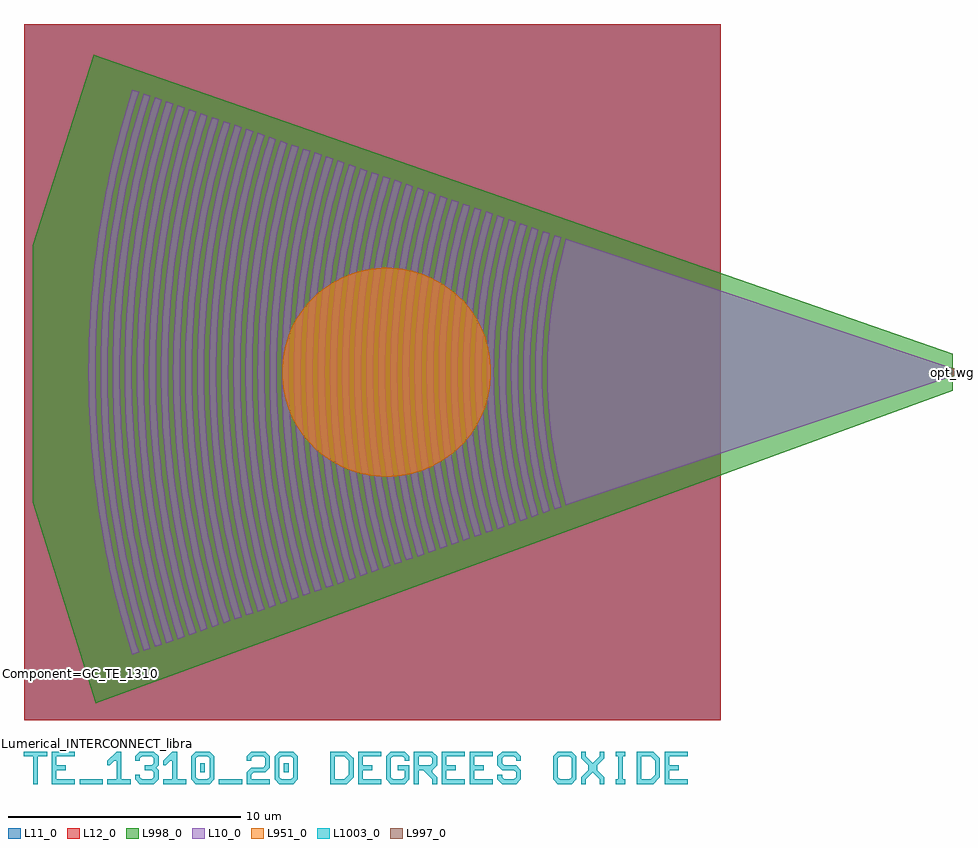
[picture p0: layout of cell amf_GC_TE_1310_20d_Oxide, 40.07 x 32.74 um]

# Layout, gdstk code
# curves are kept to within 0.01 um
import gdstk
lib = gdstk.Library(unit=1e-6, precision=1e-09)
def R(c, l, rs):  # rectangles x0, y0, x1, y1
    for r in rs: c.add(gdstk.rectangle(r[:2], r[2:], *l))
def P(c, l, *ps):  # polygons
    for p in ps: c.add(gdstk.Polygon(p, *l))
L10_0 = (10, 0)
L11_0 = (11, 0)
L12_0 = (12, 0)
L951_0 = (951, 0)
L997_0 = (997, 0)
L998_0 = (998, 0)
L1003_0 = (1003, 0)

amf_gc_te_1310_20d_oxide = lib.new_cell('amf_GC_TE_1310_20d_Oxide')
R(amf_gc_te_1310_20d_oxide, L10_0, [(-1,-0.175,0,0.175)])
P(amf_gc_te_1310_20d_oxide, L10_0, [(-16.672,-5.741),(-16.858,-5.045),(-17.021,-4.346),(-17.159,-3.642),(-17.272,-2.936),(-17.361,-2.226),(-17.425,-1.515),(-17.465,-0.802),(-17.48,-0.089),(-17.471,0.624),(-17.438,1.337),(-17.379,2.049),(-17.297,2.759),(-17.189,3.466),(-17.058,4.17),(-16.901,4.871),(-16.672,5.741),(0,0.175),(0,-0.175)],
  [(-23.063,-7.941),(-23.335,-6.984),(-23.571,-6.018),(-23.771,-5.046),(-23.936,-4.068),(-24.066,-3.086),(-24.16,-2.101),(-24.218,-1.113),(-24.24,-0.124),(-24.227,0.866),(-24.178,1.854),(-24.093,2.84),(-23.972,3.823),(-23.816,4.802),(-23.571,6.018),(-23.335,6.984),(-23.063,7.941),(-22.77,7.84),(-23.038,6.895),(-23.27,5.942),(-23.468,4.982),(-23.631,4.016),(-23.759,3.047),(-23.851,2.074),(-23.908,1.099),(-23.93,0.122),(-23.917,-0.854),(-23.869,-1.83),(-23.759,-3.047),(-23.631,-4.016),(-23.468,-4.982),(-23.27,-5.942),(-23.038,-6.895),(-22.77,-7.84)],
  [(-23.555,-8.111),(-23.833,-7.133),(-24.075,-6.147),(-24.28,-5.154),(-24.449,-4.156),(-24.582,-3.152),(-24.678,-2.146),(-24.737,-1.137),(-24.76,-0.126),(-24.747,0.884),(-24.696,1.894),(-24.609,2.901),(-24.486,3.905),(-24.326,4.905),(-24.075,6.147),(-23.833,7.133),(-23.555,8.111),(-23.262,8.01),(-23.536,7.044),(-23.774,6.07),(-23.977,5.09),(-24.144,4.104),(-24.274,3.113),(-24.369,2.119),(-24.428,1.122),(-24.45,0.125),(-24.437,-0.873),(-24.369,-2.119),(-24.274,-3.113),(-24.144,-4.104),(-23.977,-5.09),(-23.774,-6.07),(-23.536,-7.044),(-23.262,-8.01)],
  [(-24.047,-8.28),(-24.331,-7.282),(-24.578,-6.275),(-24.789,-5.262),(-24.962,-4.243),(-25.098,-3.218),(-25.196,-2.191),(-25.257,-1.161),(-25.28,-0.129),(-25.266,0.903),(-25.215,1.933),(-25.098,3.218),(-24.962,4.243),(-24.789,5.262),(-24.578,6.275),(-24.331,7.282),(-24.047,8.28),(-23.754,8.179),(-24.034,7.193),(-24.278,6.199),(-24.485,5.198),(-24.656,4.191),(-24.79,3.179),(-24.887,2.164),(-24.947,1.146),(-24.97,0.127),(-24.956,-0.892),(-24.906,-1.91),(-24.818,-2.926),(-24.656,-4.191),(-24.485,-5.198),(-24.278,-6.199),(-24.034,-7.193),(-23.754,-8.179)],
  [(-24.538,-8.449),(-24.829,-7.431),(-25.082,-6.404),(-25.297,-5.37),(-25.474,-4.33),(-25.613,-3.285),(-25.714,-2.236),(-25.776,-1.184),(-25.8,-0.132),(-25.786,0.921),(-25.733,1.973),(-25.642,3.023),(-25.513,4.069),(-25.345,5.11),(-25.14,6.146),(-24.896,7.175),(-24.538,8.449),(-24.245,8.348),(-24.532,7.342),(-24.782,6.327),(-24.994,5.306),(-25.169,4.278),(-25.306,3.245),(-25.405,2.209),(-25.467,1.17),(-25.49,0.13),(-25.476,-0.91),(-25.424,-1.949),(-25.334,-2.986),(-25.207,-4.02),(-24.994,-5.306),(-24.782,-6.327),(-24.532,-7.342),(-24.245,-8.348)],
  [(-25.03,-8.619),(-25.327,-7.58),(-25.586,-6.533),(-25.806,-5.478),(-25.987,-4.417),(-26.129,-3.351),(-26.232,-2.281),(-26.296,-1.208),(-26.32,-0.134),(-26.306,0.94),(-26.252,2.013),(-26.159,3.084),(-25.987,4.417),(-25.806,5.478),(-25.586,6.533),(-25.327,7.58),(-25.03,8.619),(-24.737,8.518),(-25.03,7.491),(-25.286,6.456),(-25.503,5.414),(-25.681,4.365),(-25.822,3.311),(-25.923,2.254),(-25.986,1.194),(-26.01,0.133),(-25.996,-0.929),(-25.943,-1.989),(-25.851,-3.047),(-25.72,-4.102),(-25.551,-5.152),(-25.344,-6.196),(-25.098,-7.233),(-24.737,-8.518)],
  [(-25.522,-8.788),(-25.825,-7.729),(-26.09,-6.661),(-26.315,-5.586),(-26.5,-4.504),(-26.645,-3.417),(-26.75,-2.326),(-26.815,-1.232),(-26.84,-0.137),(-26.825,0.958),(-26.77,2.053),(-26.645,3.417),(-26.5,4.504),(-26.315,5.586),(-26.09,6.661),(-25.825,7.729),(-25.522,8.788),(-25.229,8.687),(-25.528,7.64),(-25.789,6.585),(-26.011,5.522),(-26.194,4.452),(-26.337,3.377),(-26.441,2.299),(-26.506,1.218),(-26.53,0.135),(-26.515,-0.947),(-26.461,-2.029),(-26.367,-3.108),(-26.234,-4.184),(-26.061,-5.255),(-25.849,-6.32),(-25.597,-7.377),(-25.229,-8.687)],
  [(-28.963,-9.973),(-29.313,-8.773),(-29.617,-7.562),(-29.875,-6.342),(-30.088,-5.114),(-30.255,-3.88),(-30.376,-2.641),(-30.451,-1.399),(-30.48,-0.156),(-30.463,1.088),(-30.4,2.331),(-30.29,3.571),(-30.088,5.114),(-29.875,6.342),(-29.617,7.562),(-29.313,8.773),(-28.963,9.973),(-28.67,9.872),(-29.016,8.684),(-29.316,7.485),(-29.572,6.277),(-29.783,5.062),(-29.948,3.84),(-30.068,2.614),(-30.142,1.385),(-30.17,0.154),(-30.142,-1.385),(-30.068,-2.614),(-29.948,-3.84),(-29.783,-5.062),(-29.572,-6.277),(-29.316,-7.485),(-29.016,-8.684),(-28.67,-9.872)],
  [(-29.455,-10.142),(-29.811,-8.922),(-30.121,-7.691),(-30.384,-6.45),(-30.601,-5.201),(-30.771,-3.946),(-30.894,-2.686),(-30.971,-1.423),(-31,-0.158),(-30.983,1.107),(-30.918,2.371),(-30.806,3.631),(-30.648,4.888),(-30.443,6.138),(-30.121,7.691),(-29.811,8.922),(-29.455,10.142),(-29.162,10.041),(-29.514,8.833),(-29.82,7.614),(-30.081,6.385),(-30.295,5.149),(-30.464,3.907),(-30.586,2.659),(-30.661,1.409),(-30.69,0.157),(-30.673,-1.096),(-30.609,-2.347),(-30.498,-3.595),(-30.342,-4.839),(-30.139,-6.077),(-29.89,-7.308),(-29.595,-8.529),(-29.162,-10.041)],
  [(-29.947,-10.311),(-30.309,-9.071),(-30.624,-7.819),(-30.893,-6.558),(-31.114,-5.288),(-31.287,-4.012),(-31.413,-2.731),(-31.49,-1.447),(-31.52,-0.161),(-31.502,1.125),(-31.413,2.731),(-31.287,4.012),(-31.114,5.288),(-30.893,6.558),(-30.624,7.819),(-30.309,9.071),(-29.947,10.311),(-29.654,10.211),(-30.012,8.982),(-30.324,7.743),(-30.589,6.493),(-30.808,5.236),(-30.979,3.973),(-31.104,2.704),(-31.181,1.433),(-31.21,0.159),(-31.193,-1.114),(-31.104,-2.704),(-30.979,-3.973),(-30.808,-5.236),(-30.589,-6.493),(-30.324,-7.743),(-30.012,-8.982),(-29.654,-10.211)],
  [(-30.438,-10.481),(-30.807,-9.22),(-31.128,-7.948),(-31.401,-6.666),(-31.626,-5.375),(-31.803,-4.078),(-31.931,-2.776),(-32.01,-1.471),(-32.04,-0.163),(-32.022,1.144),(-31.955,2.45),(-31.839,3.753),(-31.675,5.052),(-31.462,6.344),(-31.201,7.628),(-30.892,8.903),(-30.438,10.481),(-30.145,10.38),(-30.51,9.131),(-30.828,7.871),(-31.098,6.601),(-31.321,5.323),(-31.495,4.039),(-31.622,2.749),(-31.7,1.457),(-31.73,0.162),(-31.7,-1.457),(-31.622,-2.749),(-31.495,-4.039),(-31.321,-5.323),(-31.098,-6.601),(-30.828,-7.871),(-30.51,-9.131),(-30.145,-10.38)],
  [(-30.93,-10.65),(-31.305,-9.369),(-31.632,-8.076),(-31.91,-6.774),(-32.139,-5.463),(-32.318,-4.144),(-32.449,-2.821),(-32.529,-1.495),(-32.56,-0.166),(-32.542,1.163),(-32.449,2.821),(-32.318,4.144),(-32.139,5.463),(-31.91,6.774),(-31.632,8.076),(-31.305,9.369),(-30.93,10.65),(-30.637,10.549),(-31.008,9.28),(-31.332,8),(-31.607,6.709),(-31.833,5.411),(-32.011,4.105),(-32.14,2.794),(-32.22,1.48),(-32.25,0.165),(-32.22,-1.48),(-32.14,-2.794),(-32.011,-4.105),(-31.833,-5.411),(-31.607,-6.709),(-31.332,-8),(-31.008,-9.28),(-30.637,-10.549)],
  [(-31.422,-10.819),(-31.803,-9.518),(-32.136,-8.205),(-32.419,-6.882),(-32.651,-5.55),(-32.834,-4.211),(-32.967,-2.866),(-33.049,-1.519),(-33.08,-0.169),(-33.061,1.181),(-32.992,2.53),(-32.872,3.875),(-32.702,5.215),(-32.419,6.882),(-32.136,8.205),(-31.803,9.518),(-31.422,10.819),(-31.129,10.718),(-31.507,9.429),(-31.836,8.128),(-32.115,6.817),(-32.346,5.498),(-32.527,4.171),(-32.658,2.84),(-32.739,1.504),(-32.77,0.167),(-32.752,-1.17),(-32.683,-2.506),(-32.564,-3.839),(-32.396,-5.167),(-32.178,-6.488),(-31.836,-8.128),(-31.507,-9.429),(-31.129,-10.718)],
  [(-31.913,-10.989),(-32.302,-9.667),(-32.64,-8.334),(-32.927,-6.99),(-33.164,-5.637),(-33.35,-4.277),(-33.485,-2.911),(-33.568,-1.542),(-33.6,-0.171),(-33.581,1.2),(-33.485,2.911),(-33.35,4.277),(-33.164,5.637),(-32.927,6.99),(-32.64,8.334),(-32.302,9.667),(-31.913,10.989),(-31.62,10.888),(-32.005,9.578),(-32.339,8.257),(-32.624,6.925),(-32.859,5.585),(-33.043,4.237),(-33.176,2.885),(-33.258,1.528),(-33.29,0.17),(-33.271,-1.189),(-33.243,-1.868),(-33.176,-2.885),(-33.043,-4.237),(-32.859,-5.585),(-32.624,-6.925),(-32.339,-8.257),(-32.005,-9.578),(-31.62,-10.888)],
  [(-32.405,-11.158),(-32.8,-9.816),(-33.144,-8.462),(-33.436,-7.098),(-33.677,-5.724),(-33.866,-4.343),(-34.003,-2.956),(-34.088,-1.566),(-34.12,-0.174),(-34.088,1.566),(-34.003,2.956),(-33.866,4.343),(-33.677,5.724),(-33.436,7.098),(-33.144,8.462),(-32.8,9.816),(-32.405,11.158),(-32.112,11.057),(-32.503,9.728),(-32.843,8.386),(-33.133,7.033),(-33.371,5.672),(-33.558,4.303),(-33.694,2.93),(-33.778,1.552),(-33.81,0.172),(-33.791,-1.207),(-33.72,-2.585),(-33.597,-3.96),(-33.423,-5.33),(-33.133,-7.033),(-32.843,-8.386),(-32.503,-9.728),(-32.112,-11.057)],
  [(-32.897,-11.327),(-33.298,-9.966),(-33.647,-8.591),(-33.945,-7.206),(-34.189,-5.811),(-34.382,-4.409),(-34.521,-3.001),(-34.607,-1.59),(-34.64,-0.177),(-34.637,0.53),(-34.607,1.59),(-34.521,3.001),(-34.382,4.409),(-34.189,5.811),(-33.945,7.206),(-33.647,8.591),(-33.298,9.966),(-32.897,11.327),(-32.604,11.226),(-33.001,9.877),(-33.347,8.514),(-33.641,7.141),(-33.884,5.759),(-34.074,4.37),(-34.212,2.975),(-34.297,1.576),(-34.33,0.175),(-34.311,-1.226),(-34.261,-2.276),(-34.15,-3.673),(-34.031,-4.718),(-33.828,-6.105),(-33.501,-7.829),(-33.092,-9.537),(-32.809,-10.553),(-32.604,-11.226)],
  [(-18.638,-6.418),(-18.851,-5.642),(-19.036,-4.86),(-19.193,-4.074),(-19.323,-3.284),(-19.424,-2.491),(-19.497,-1.695),(-19.543,-0.898),(-19.56,-0.1),(-19.55,0.698),(-19.511,1.496),(-19.445,2.292),(-19.323,3.284),(-19.193,4.074),(-19.036,4.86),(-18.851,5.642),(-18.638,6.418),(-18.345,6.317),(-18.554,5.553),(-18.736,4.784),(-18.89,4.01),(-19.017,3.232),(-19.117,2.451),(-19.189,1.668),(-19.233,0.884),(-19.25,0.098),(-19.24,-0.687),(-19.189,-1.668),(-19.117,-2.451),(-19.017,-3.232),(-18.89,-4.01),(-18.736,-4.784),(-18.554,-5.553),(-18.345,-6.317)],
  [(-19.13,-6.587),(-19.349,-5.791),(-19.54,-4.989),(-19.702,-4.182),(-19.835,-3.371),(-19.94,-2.557),(-20.016,-1.74),(-20.062,-0.922),(-20.08,-0.102),(-20.07,0.717),(-20.03,1.536),(-19.961,2.353),(-19.864,3.168),(-19.738,3.98),(-19.54,4.989),(-19.349,5.791),(-19.13,6.587),(-18.837,6.486),(-19.052,5.702),(-19.24,4.912),(-19.399,4.118),(-19.53,3.319),(-19.632,2.518),(-19.707,1.713),(-19.753,0.908),(-19.77,0.101),(-19.753,-0.908),(-19.707,-1.713),(-19.632,-2.518),(-19.53,-3.319),(-19.399,-4.118),(-19.24,-4.912),(-19.052,-5.702),(-18.837,-6.486)],
  [(-19.622,-6.756),(-19.847,-5.94),(-20.044,-5.118),(-20.211,-4.29),(-20.348,-3.458),(-20.456,-2.623),(-20.534,-1.785),(-20.582,-0.946),(-20.6,-0.105),(-20.589,0.736),(-20.548,1.576),(-20.478,2.414),(-20.378,3.25),(-20.211,4.29),(-20.044,5.118),(-19.847,5.94),(-19.622,6.756),(-19.329,6.655),(-19.55,5.851),(-19.743,5.041),(-19.907,4.226),(-20.042,3.407),(-20.148,2.584),(-20.225,1.758),(-20.272,0.931),(-20.29,0.104),(-20.272,-0.931),(-20.225,-1.758),(-20.148,-2.584),(-20.042,-3.407),(-19.907,-4.226),(-19.743,-5.041),(-19.55,-5.851),(-19.329,-6.655)],
  [(-20.113,-6.926),(-20.346,-6.089),(-20.548,-5.246),(-20.719,-4.398),(-20.861,-3.546),(-20.971,-2.689),(-21.052,-1.83),(-21.101,-0.97),(-21.12,-0.108),(-21.109,0.754),(-21.052,1.83),(-20.971,2.689),(-20.861,3.546),(-20.719,4.398),(-20.548,5.246),(-20.346,6.089),(-20.113,6.926),(-19.82,6.825),(-20.049,6),(-20.247,5.17),(-20.416,4.334),(-20.555,3.494),(-20.664,2.65),(-20.743,1.804),(-20.792,0.955),(-20.81,0.106),(-20.792,-0.955),(-20.743,-1.804),(-20.664,-2.65),(-20.555,-3.494),(-20.416,-4.334),(-20.247,-5.17),(-20.049,-6),(-19.82,-6.825)],
  [(-20.605,-7.095),(-20.844,-6.238),(-21.051,-5.375),(-21.228,-4.506),(-21.373,-3.633),(-21.487,-2.755),(-21.57,-1.875),(-21.621,-0.993),(-21.64,-0.11),(-21.629,0.773),(-21.585,1.655),(-21.511,2.536),(-21.405,3.414),(-21.267,4.288),(-21.099,5.158),(-20.899,6.023),(-20.605,7.095),(-20.312,6.994),(-20.547,6.149),(-20.751,5.298),(-20.925,4.442),(-21.068,3.581),(-21.18,2.716),(-21.261,1.849),(-21.311,0.979),(-21.33,0.109),(-21.319,-0.762),(-21.276,-1.631),(-21.203,-2.499),(-21.099,-3.365),(-20.925,-4.442),(-20.751,-5.298),(-20.547,-6.149),(-20.312,-6.994)],
  [(-21.097,-7.264),(-21.342,-6.387),(-21.555,-5.504),(-21.737,-4.614),(-21.886,-3.72),(-22.003,-2.822),(-22.088,-1.92),(-22.14,-1.017),(-22.16,-0.113),(-22.14,1.017),(-22.088,1.92),(-22.003,2.822),(-21.886,3.72),(-21.737,4.614),(-21.555,5.504),(-21.342,6.387),(-21.097,7.264),(-20.804,7.163),(-21.045,6.298),(-21.255,5.427),(-21.433,4.55),(-21.58,3.668),(-21.695,2.782),(-21.779,1.894),(-21.831,1.003),(-21.85,0.111),(-21.838,-0.78),(-21.795,-1.671),(-21.719,-2.56),(-21.612,-3.447),(-21.473,-4.33),(-21.303,-5.208),(-21.045,-6.298),(-20.804,-7.163)],
  [(-33.388,-11.497),(-33.796,-10.115),(-34.151,-8.72),(-34.453,-7.314),(-34.702,-5.898),(-34.897,-4.475),(-35.039,-3.047),(-35.127,-1.614),(-35.16,-0.179),(-35.14,1.255),(-35.066,2.689),(-34.938,4.119),(-34.756,5.543),(-34.521,6.961),(-34.232,8.369),(-33.89,9.767),(-33.599,10.807),(-33.388,11.497),(-33.095,11.396),(-33.499,10.026),(-33.851,8.643),(-34.15,7.249),(-34.396,5.846),(-34.59,4.436),(-34.73,3.02),(-34.817,1.6),(-34.85,0.178),(-34.84,-0.889),(-34.78,-2.31),(-34.667,-3.728),(-34.546,-4.789),(-34.45,-5.494),(-34.28,-6.549),(-33.931,-8.296),(-33.682,-9.336),(-33.499,-10.026),(-33.095,-11.396)],
  [(-33.88,-11.666),(-34.294,-10.264),(-34.655,-8.848),(-34.962,-7.422),(-35.215,-5.985),(-35.413,-4.541),(-35.557,-3.092),(-35.646,-1.638),(-35.68,-0.182),(-35.66,1.274),(-35.629,2.002),(-35.557,3.092),(-35.413,4.541),(-35.215,5.985),(-34.962,7.422),(-34.655,8.848),(-34.294,10.264),(-33.88,11.666),(-33.587,11.565),(-33.997,10.175),(-34.355,8.772),(-34.659,7.357),(-34.909,5.933),(-35.106,4.502),(-35.248,3.065),(-35.336,1.624),(-35.37,0.18),(-35.35,-1.263),(-35.299,-2.345),(-35.218,-3.424),(-35.062,-4.86),(-34.791,-6.646),(-34.588,-7.712),(-34.436,-8.419),(-34.092,-9.825),(-33.9,-10.524),(-33.587,-11.565)],
  [(-34.372,-11.835),(-34.792,-10.413),(-35.159,-8.977),(-35.471,-7.53),(-35.727,-6.072),(-35.929,-4.607),(-36.075,-3.137),(-36.165,-1.662),(-36.2,-0.185),(-36.179,1.293),(-36.103,2.768),(-35.971,4.24),(-35.783,5.707),(-35.606,6.802),(-35.471,7.53),(-35.159,8.977),(-34.792,10.413),(-34.372,11.835),(-34.079,11.734),(-34.496,10.324),(-34.859,8.9),(-35.167,7.465),(-35.422,6.02),(-35.621,4.568),(-35.766,3.11),(-35.856,1.647),(-35.89,0.183),(-35.87,-1.282),(-35.818,-2.379),(-35.701,-3.84),(-35.577,-4.932),(-35.422,-6.02),(-35.301,-6.744),(-35.095,-7.825),(-34.941,-8.543),(-34.684,-9.614),(-34.496,-10.324),(-34.079,-11.734)],
  [(-34.863,-12.004),(-35.291,-10.562),(-35.663,-9.106),(-35.979,-7.638),(-36.24,-6.16),(-36.445,-4.674),(-36.593,-3.182),(-36.685,-1.686),(-36.72,-0.187),(-36.71,0.937),(-36.685,1.686),(-36.593,3.182),(-36.445,4.674),(-36.24,6.16),(-35.979,7.638),(-35.663,9.106),(-35.291,10.562),(-34.863,12.004),(-34.57,11.904),(-34.994,10.473),(-35.185,9.753),(-35.446,8.666),(-35.603,7.938),(-35.812,6.842),(-35.934,6.108),(-36.092,5.003),(-36.218,3.895),(-36.337,2.413),(-36.389,1.3),(-36.41,0.186),(-36.4,-0.929),(-36.337,-2.413),(-36.253,-3.525),(-36.092,-5.003),(-35.934,-6.108),(-35.812,-6.842),(-35.603,-7.938),(-35.446,-8.666),(-35.185,-9.753),(-34.994,-10.473),(-34.57,-11.904)],
  [(-35.355,-12.174),(-35.789,-10.711),(-36.167,-9.234),(-36.488,-7.746),(-36.753,-6.247),(-36.96,-4.74),(-37.111,-3.227),(-37.204,-1.709),(-37.24,-0.19),(-37.219,1.33),(-37.14,2.848),(-37.043,3.984),(-36.96,4.74),(-36.753,6.247),(-36.488,7.746),(-36.167,9.234),(-35.789,10.711),(-35.355,12.174),(-35.062,12.073),(-35.39,10.986),(-35.591,10.257),(-35.951,8.79),(-36.185,7.681),(-36.323,6.939),(-36.504,5.822),(-36.607,5.075),(-36.735,3.951),(-36.856,2.448),(-36.909,1.319),(-36.93,0.188),(-36.92,-0.942),(-36.856,-2.448),(-36.735,-3.951),(-36.607,-5.075),(-36.504,-5.822),(-36.323,-6.939),(-36.185,-7.681),(-35.951,-8.79),(-35.591,-10.257),(-35.39,-10.986),(-35.062,-12.073)],
  [(-21.588,-7.433),(-21.84,-6.536),(-22.059,-5.632),(-22.245,-4.722),(-22.399,-3.807),(-22.519,-2.888),(-22.606,-1.966),(-22.66,-1.041),(-22.68,-0.116),(-22.66,1.041),(-22.606,1.966),(-22.519,2.888),(-22.399,3.807),(-22.245,4.722),(-22.059,5.632),(-21.84,6.536),(-21.588,7.433),(-21.295,7.333),(-21.543,6.447),(-21.759,5.556),(-21.942,4.658),(-22.093,3.755),(-22.211,2.848),(-22.297,1.939),(-22.35,1.027),(-22.37,0.114),(-22.358,-0.799),(-22.313,-1.711),(-22.236,-2.621),(-22.126,-3.529),(-21.983,-4.433),(-21.808,-5.332),(-21.6,-6.225),(-21.295,-7.333)],
  [(-22.08,-7.603),(-22.338,-6.685),(-22.563,-5.761),(-22.754,-4.83),(-22.911,-3.894),(-23.034,-2.954),(-23.124,-2.011),(-23.179,-1.065),(-23.2,-0.118),(-23.188,0.828),(-23.124,2.011),(-23.034,2.954),(-22.911,3.894),(-22.754,4.83),(-22.563,5.761),(-22.338,6.685),(-22.08,7.603),(-21.787,7.502),(-22.041,6.597),(-22.263,5.684),(-22.451,4.766),(-22.606,3.842),(-22.727,2.914),(-22.815,1.984),(-22.869,1.051),(-22.89,0.117),(-22.878,-0.817),(-22.832,-1.751),(-22.727,-2.914),(-22.606,-3.842),(-22.451,-4.766),(-22.263,-5.684),(-22.041,-6.597),(-21.787,-7.502)],
  [(-22.572,-7.772),(-22.836,-6.835),(-23.067,-5.89),(-23.263,-4.938),(-23.424,-3.981),(-23.55,-3.02),(-23.642,-2.056),(-23.699,-1.089),(-23.72,-0.121),(-23.707,0.847),(-23.659,1.814),(-23.576,2.779),(-23.459,3.741),(-23.263,4.938),(-23.067,5.89),(-22.836,6.835),(-22.572,7.772),(-22.279,7.671),(-22.539,6.746),(-22.766,5.813),(-22.959,4.874),(-23.118,3.929),(-23.243,2.981),(-23.333,2.029),(-23.389,1.075),(-23.41,0.119),(-23.397,-0.836),(-23.35,-1.79),(-23.269,-2.743),(-23.153,-3.693),(-23.002,-4.638),(-22.818,-5.579),(-22.539,-6.746),(-22.279,-7.671)],
  [(-26.013,-8.957),(-26.324,-7.878),(-26.594,-6.79),(-26.823,-5.694),(-27.012,-4.591),(-27.161,-3.483),(-27.268,-2.371),(-27.335,-1.256),(-27.36,-0.14),(-27.345,0.977),(-27.289,2.092),(-27.191,3.205),(-27.053,4.315),(-26.874,5.419),(-26.594,6.79),(-26.324,7.878),(-26.013,8.957),(-25.72,8.856),(-26.027,7.789),(-26.293,6.713),(-26.52,5.63),(-26.707,4.539),(-26.853,3.444),(-26.959,2.344),(-27.025,1.242),(-27.05,0.138),(-27.035,-0.966),(-26.98,-2.069),(-26.884,-3.169),(-26.707,-4.539),(-26.52,-5.63),(-26.293,-6.713),(-26.027,-7.789),(-25.72,-8.856)],
  [(-26.505,-9.126),(-26.822,-8.027),(-27.098,-6.919),(-27.332,-5.802),(-27.525,-4.678),(-27.676,-3.549),(-27.786,-2.416),(-27.854,-1.28),(-27.88,-0.142),(-27.865,0.996),(-27.807,2.132),(-27.708,3.266),(-27.567,4.397),(-27.332,5.802),(-27.098,6.919),(-26.822,8.027),(-26.505,9.126),(-26.212,9.025),(-26.525,7.938),(-26.797,6.842),(-27.029,5.738),(-27.219,4.626),(-27.369,3.51),(-27.477,2.389),(-27.545,1.266),(-27.57,0.141),(-27.555,-0.984),(-27.498,-2.108),(-27.4,-3.23),(-27.261,-4.348),(-27.08,-5.46),(-26.859,-6.567),(-26.597,-7.665),(-26.212,-9.025)],
  [(-26.997,-9.296),(-27.32,-8.176),(-27.601,-7.047),(-27.841,-5.91),(-28.038,-4.765),(-28.192,-3.615),(-28.304,-2.461),(-28.374,-1.304),(-28.4,-0.145),(-28.384,1.014),(-28.326,2.172),(-28.224,3.327),(-28.038,4.765),(-27.841,5.91),(-27.601,7.047),(-27.32,8.176),(-26.997,9.296),(-26.704,9.195),(-27.023,8.088),(-27.301,6.971),(-27.537,5.846),(-27.732,4.714),(-27.885,3.576),(-27.995,2.434),(-28.064,1.289),(-28.09,0.143),(-28.075,-1.003),(-27.995,-2.434),(-27.885,-3.576),(-27.732,-4.714),(-27.537,-5.846),(-27.301,-6.971),(-27.023,-8.088),(-26.704,-9.195)],
  [(-27.488,-9.465),(-27.818,-8.325),(-28.105,-7.176),(-28.349,-6.018),(-28.55,-4.853),(-28.708,-3.681),(-28.822,-2.506),(-28.893,-1.328),(-28.92,-0.148),(-28.904,1.033),(-28.844,2.212),(-28.741,3.388),(-28.594,4.56),(-28.404,5.727),(-28.105,7.176),(-27.818,8.325),(-27.488,9.465),(-27.195,9.364),(-27.521,8.237),(-27.805,7.099),(-28.046,5.954),(-28.245,4.801),(-28.401,3.642),(-28.513,2.479),(-28.583,1.313),(-28.61,0.146),(-28.594,-1.022),(-28.535,-2.188),(-28.401,-3.642),(-28.245,-4.801),(-28.046,-5.954),(-27.805,-7.099),(-27.521,-8.237),(-27.195,-9.364)],
  [(-27.98,-9.634),(-28.316,-8.475),(-28.609,-7.305),(-28.858,-6.126),(-29.063,-4.94),(-29.224,-3.748),(-29.34,-2.551),(-29.413,-1.351),(-29.44,-0.15),(-29.424,1.051),(-29.363,2.251),(-29.224,3.748),(-29.063,4.94),(-28.858,6.126),(-28.609,7.305),(-28.316,8.475),(-27.98,9.634),(-27.687,9.533),(-28.019,8.386),(-28.309,7.228),(-28.555,6.061),(-28.757,4.888),(-28.916,3.708),(-29.032,2.524),(-29.103,1.337),(-29.13,0.149),(-29.114,-1.04),(-29.053,-2.228),(-28.949,-3.413),(-28.801,-4.593),(-28.555,-6.061),(-28.309,-7.228),(-28.019,-8.386),(-27.687,-9.533)],
  [(-28.472,-9.804),(-28.814,-8.624),(-29.113,-7.433),(-29.367,-6.234),(-29.576,-5.027),(-29.74,-3.814),(-29.858,-2.596),(-29.932,-1.375),(-29.96,-0.153),(-29.943,1.07),(-29.881,2.291),(-29.74,3.814),(-29.576,5.027),(-29.367,6.234),(-29.113,7.433),(-28.814,8.624),(-28.472,9.804),(-28.179,9.703),(-28.517,8.535),(-28.813,7.357),(-29.063,6.169),(-29.27,4.975),(-29.432,3.774),(-29.55,2.569),(-29.622,1.361),(-29.65,0.151),(-29.634,-1.059),(-29.572,-2.267),(-29.466,-3.473),(-29.315,-4.675),(-29.119,-5.871),(-28.813,-7.357),(-28.517,-8.535),(-28.179,-9.703)],
  [(-17.163,-5.91),(-17.357,-5.195),(-17.525,-4.474),(-17.667,-3.75),(-17.785,-3.023),(-17.877,-2.292),(-17.943,-1.56),(-17.985,-0.826),(-18,-0.092),(-17.991,0.643),(-17.956,1.377),(-17.896,2.11),(-17.785,3.023),(-17.667,3.75),(-17.525,4.474),(-17.357,5.195),(-17.163,5.91),(-16.87,5.809),(-17.06,5.106),(-17.224,4.398),(-17.364,3.686),(-17.479,2.971),(-17.569,2.253),(-17.635,1.533),(-17.675,0.812),(-17.69,0.09),(-17.681,-0.632),(-17.647,-1.353),(-17.588,-2.073),(-17.504,-2.792),(-17.395,-3.507),(-17.262,-4.22),(-17.06,-5.106),(-16.87,-5.809)],
  [(-17.655,-6.079),(-17.988,-4.789),(-18.142,-4.045),(-18.297,-3.11),(-18.412,-2.17),(-18.475,-1.417),(-18.511,-0.661),(-18.52,-0.094),(-18.511,0.661),(-18.475,1.417),(-18.412,2.17),(-18.324,2.922),(-18.209,3.672),(-18.068,4.417),(-17.901,5.159),(-17.655,6.079),(-17.362,5.978),(-17.558,5.255),(-17.728,4.526),(-17.873,3.794),(-17.992,3.058),(-18.085,2.319),(-18.153,1.578),(-18.194,0.836),(-18.21,0.093),(-18.201,-0.65),(-18.153,-1.578),(-18.085,-2.319),(-17.992,-3.058),(-17.873,-3.794),(-17.728,-4.526),(-17.558,-5.255),(-17.362,-5.978)],
  [(-18.147,-6.248),(-18.353,-5.493),(-18.532,-4.732),(-18.685,-3.966),(-18.81,-3.197),(-18.908,-2.425),(-18.979,-1.65),(-19.023,-0.874),(-19.04,-0.097),(-19.03,0.68),(-18.993,1.456),(-18.929,2.231),(-18.81,3.197),(-18.685,3.966),(-18.532,4.732),(-18.353,5.493),(-18.147,6.248),(-17.854,6.147),(-18.056,5.404),(-18.232,4.655),(-18.347,4.091),(-18.504,3.145),(-18.601,2.385),(-18.671,1.623),(-18.714,0.86),(-18.73,0.096),(-18.72,-0.669),(-18.684,-1.433),(-18.621,-2.195),(-18.531,-2.955),(-18.415,-3.713),(-18.272,-4.467),(-18.056,-5.404),(-17.854,-6.147)])
R(amf_gc_te_1310_20d_oxide, L11_0, [(-40,-15,-10,15)])
R(amf_gc_te_1310_20d_oxide, L12_0, [(-40,-15,-10,15)])
P(amf_gc_te_1310_20d_oxide, L951_0, [(-24.62,-4.5),(-25.06,-4.457),(-25.494,-4.37),(-25.917,-4.242),(-26.325,-4.073),(-26.715,-3.864),(-27.083,-3.619),(-27.425,-3.338),(-27.737,-3.026),(-28.018,-2.684),(-28.263,-2.316),(-28.472,-1.926),(-28.641,-1.518),(-28.769,-1.095),(-28.856,-0.661),(-28.899,-0.221),(-28.899,0.221),(-28.856,0.661),(-28.769,1.095),(-28.641,1.518),(-28.472,1.926),(-28.263,2.316),(-28.018,2.684),(-27.737,3.026),(-27.425,3.338),(-27.083,3.619),(-26.715,3.864),(-26.325,4.073),(-25.917,4.242),(-25.494,4.37),(-25.06,4.457),(-24.62,4.5),(-24.178,4.5),(-23.738,4.457),(-23.304,4.37),(-22.881,4.242),(-22.473,4.073),(-22.083,3.864),(-21.715,3.619),(-21.373,3.338),(-21.061,3.026),(-20.78,2.684),(-20.535,2.316),(-20.326,1.926),(-20.157,1.518),(-20.029,1.095),(-19.942,0.661),(-19.899,0.221),(-19.899,-0.221),(-19.942,-0.661),(-20.029,-1.095),(-20.157,-1.518),(-20.326,-1.926),(-20.535,-2.316),(-20.78,-2.684),(-21.061,-3.026),(-21.373,-3.338),(-21.715,-3.619),(-22.083,-3.864),(-22.473,-4.073),(-22.881,-4.242),(-23.304,-4.37),(-23.738,-4.457),(-24.178,-4.5)])
P(amf_gc_te_1310_20d_oxide, L998_0, [(-36.93,-14.26),(-39.65,-5.6),(-39.65,5.474),(-37.01,13.68),(0,0.8),(0,-0.8)])
R(amf_gc_te_1310_20d_oxide, L1003_0, [(-37.62,-17.74,-36.62,-17.54), (-31.62,-17.74,-30.62,-17.54), (-32.42,-17.24,-32.22,-16.84), (-28.82,-17.24,-28.62,-16.84)])
P(amf_gc_te_1310_20d_oxide, L1003_0, [(-39.62,-17.74),(-39.62,-16.54),(-40.02,-16.54),(-40.02,-16.34),(-39.02,-16.34),(-39.02,-16.54),(-39.42,-16.54),(-39.42,-17.74)],
  [(-38.82,-17.74),(-38.82,-16.34),(-37.82,-16.34),(-37.82,-16.54),(-38.62,-16.54),(-38.62,-16.94),(-38.22,-16.94),(-38.22,-17.14),(-38.62,-17.14),(-38.62,-17.54),(-37.82,-17.54),(-37.82,-17.74)],
  [(-36.42,-17.74),(-36.42,-17.54),(-36.02,-17.54),(-36.02,-16.74),(-36.12,-16.74),(-36.32,-16.94),(-36.42,-16.94),(-36.42,-16.74),(-36.02,-16.34),(-35.82,-16.34),(-35.82,-17.54),(-35.42,-17.54),(-35.42,-17.74)],
  [(-35.02,-17.74),(-35.22,-17.54),(-35.22,-17.34),(-35.02,-17.34),(-35.02,-17.44),(-34.92,-17.54),(-34.52,-17.54),(-34.42,-17.44),(-34.42,-17.24),(-34.52,-17.14),(-34.82,-17.14),(-34.82,-16.94),(-34.52,-16.94),(-34.42,-16.84),(-34.42,-16.64),(-34.52,-16.54),(-34.92,-16.54),(-35.02,-16.64),(-35.02,-16.74),(-35.22,-16.74),(-35.22,-16.54),(-35.02,-16.34),(-34.42,-16.34),(-34.22,-16.54),(-34.22,-16.94),(-34.32,-17.04),(-34.22,-17.14),(-34.22,-17.54),(-34.42,-17.74)],
  [(-34.02,-17.74),(-34.02,-17.54),(-33.62,-17.54),(-33.62,-16.74),(-33.72,-16.74),(-33.92,-16.94),(-34.02,-16.94),(-34.02,-16.74),(-33.62,-16.34),(-33.42,-16.34),(-33.42,-17.54),(-33.02,-17.54),(-33.02,-17.74)],
  [(-32.62,-17.74),(-32.82,-17.54),(-32.82,-16.54),(-32.62,-16.34),(-32.02,-16.34),(-31.82,-16.54),(-32.52,-16.54),(-32.62,-16.64),(-32.62,-17.44),(-32.52,-17.54),(-32.12,-17.54),(-32.02,-17.44),(-32.02,-16.64),(-32.12,-16.54),(-31.82,-16.54),(-31.82,-17.54),(-32.02,-17.74)],
  [(-30.42,-17.74),(-30.42,-17.24),(-30.22,-17.04),(-29.72,-17.04),(-29.62,-16.94),(-29.62,-16.64),(-29.72,-16.54),(-30.12,-16.54),(-30.22,-16.64),(-30.22,-16.74),(-30.42,-16.74),(-30.42,-16.54),(-30.22,-16.34),(-29.62,-16.34),(-29.42,-16.54),(-29.42,-17.04),(-29.62,-17.24),(-30.12,-17.24),(-30.22,-17.34),(-30.22,-17.54),(-29.42,-17.54),(-29.42,-17.74)],
  [(-29.02,-17.74),(-29.22,-17.54),(-29.22,-16.54),(-29.02,-16.34),(-28.42,-16.34),(-28.22,-16.54),(-28.92,-16.54),(-29.02,-16.64),(-29.02,-17.44),(-28.92,-17.54),(-28.52,-17.54),(-28.42,-17.44),(-28.42,-16.64),(-28.52,-16.54),(-28.22,-16.54),(-28.22,-17.54),(-28.42,-17.74)],
  [(-26.82,-17.74),(-26.82,-16.34),(-26.12,-16.34),(-25.92,-16.54),(-26.62,-16.54),(-26.62,-17.54),(-26.22,-17.54),(-26.02,-17.34),(-26.02,-16.74),(-26.22,-16.54),(-25.92,-16.54),(-25.82,-16.64),(-25.82,-17.44),(-26.12,-17.74)],
  [(-25.62,-17.74),(-25.62,-16.34),(-24.62,-16.34),(-24.62,-16.54),(-25.42,-16.54),(-25.42,-16.94),(-25.02,-16.94),(-25.02,-17.14),(-25.42,-17.14),(-25.42,-17.54),(-24.62,-17.54),(-24.62,-17.74)],
  [(-24.22,-17.74),(-24.42,-17.54),(-24.42,-16.54),(-24.22,-16.34),(-23.62,-16.34),(-23.42,-16.54),(-23.42,-16.74),(-23.62,-16.74),(-23.62,-16.64),(-23.72,-16.54),(-24.12,-16.54),(-24.22,-16.64),(-24.22,-17.44),(-24.12,-17.54),(-23.72,-17.54),(-23.62,-17.44),(-23.62,-17.14),(-23.92,-17.14),(-23.92,-16.94),(-23.42,-16.94),(-23.42,-17.54),(-23.62,-17.74)],
  [(-23.22,-17.74),(-23.22,-16.34),(-22.42,-16.34),(-22.22,-16.54),(-23.02,-16.54),(-23.02,-16.94),(-22.52,-16.94),(-22.42,-16.84),(-22.42,-16.64),(-22.52,-16.54),(-22.22,-16.54),(-22.22,-16.94),(-22.42,-17.14),(-22.42,-17.24),(-22.22,-17.44),(-22.22,-17.74),(-22.42,-17.74),(-22.42,-17.54),(-22.82,-17.14),(-23.02,-17.14),(-23.02,-17.74)],
  [(-22.02,-17.74),(-22.02,-16.34),(-21.02,-16.34),(-21.02,-16.54),(-21.82,-16.54),(-21.82,-16.94),(-21.42,-16.94),(-21.42,-17.14),(-21.82,-17.14),(-21.82,-17.54),(-21.02,-17.54),(-21.02,-17.74)],
  [(-20.82,-17.74),(-20.82,-16.34),(-19.82,-16.34),(-19.82,-16.54),(-20.62,-16.54),(-20.62,-16.94),(-20.22,-16.94),(-20.22,-17.14),(-20.62,-17.14),(-20.62,-17.54),(-19.82,-17.54),(-19.82,-17.74)],
  [(-19.42,-17.74),(-19.62,-17.54),(-19.62,-17.34),(-19.42,-17.34),(-19.42,-17.44),(-19.32,-17.54),(-18.92,-17.54),(-18.82,-17.44),(-18.82,-17.24),(-18.92,-17.14),(-19.42,-17.14),(-19.62,-16.94),(-19.62,-16.54),(-19.42,-16.34),(-18.82,-16.34),(-18.62,-16.54),(-18.62,-16.74),(-18.82,-16.74),(-18.82,-16.64),(-18.92,-16.54),(-19.32,-16.54),(-19.42,-16.64),(-19.42,-16.84),(-19.32,-16.94),(-18.82,-16.94),(-18.62,-17.14),(-18.62,-17.54),(-18.82,-17.74)],
  [(-17.02,-17.74),(-17.22,-17.54),(-17.22,-16.54),(-17.02,-16.34),(-16.42,-16.34),(-16.22,-16.54),(-16.22,-17.04),(-16.42,-17.04),(-16.42,-16.64),(-16.52,-16.54),(-16.92,-16.54),(-17.02,-16.64),(-17.02,-17.44),(-16.92,-17.54),(-16.52,-17.54),(-16.42,-17.44),(-16.42,-17.04),(-16.22,-17.04),(-16.22,-17.54),(-16.42,-17.74)],
  [(-16.02,-17.74),(-16.02,-17.44),(-15.72,-17.14),(-15.72,-16.94),(-16.02,-16.64),(-16.02,-16.34),(-15.82,-16.34),(-15.82,-16.54),(-15.52,-16.84),(-15.22,-16.54),(-15.22,-16.34),(-15.02,-16.34),(-15.02,-16.64),(-15.32,-16.94),(-15.32,-17.14),(-15.02,-17.44),(-15.02,-17.74),(-15.22,-17.74),(-15.22,-17.54),(-15.52,-17.24),(-15.82,-17.54),(-15.82,-17.74)],
  [(-14.52,-17.74),(-14.52,-17.54),(-14.42,-17.54),(-14.42,-16.54),(-14.52,-16.54),(-14.52,-16.34),(-14.12,-16.34),(-14.12,-16.54),(-14.22,-16.54),(-14.22,-17.54),(-14.12,-17.54),(-14.12,-17.74)],
  [(-13.62,-17.74),(-13.62,-16.34),(-12.92,-16.34),(-12.72,-16.54),(-13.42,-16.54),(-13.42,-17.54),(-13.02,-17.54),(-12.82,-17.34),(-12.82,-16.74),(-13.02,-16.54),(-12.72,-16.54),(-12.62,-16.64),(-12.62,-17.44),(-12.92,-17.74)],
  [(-12.42,-17.74),(-12.42,-16.34),(-11.42,-16.34),(-11.42,-16.54),(-12.22,-16.54),(-12.22,-16.94),(-11.82,-16.94),(-11.82,-17.14),(-12.22,-17.14),(-12.22,-17.54),(-11.42,-17.54),(-11.42,-17.74)])
amf_gc_te_1310_20d_oxide.add(gdstk.FlexPath([(-0.05,0),(0.05,0)], 0.35, ends="flush", simple_path=True, layer=997, datatype=0))  # L997_0
amf_gc_te_1310_20d_oxide.add(gdstk.Label('opt_wg', (0,0), layer=997, texttype=0))
amf_gc_te_1310_20d_oxide.add(gdstk.Label('Component=GC_TE_1310', (-39,-13), layer=998, texttype=0))
amf_gc_te_1310_20d_oxide.add(gdstk.Label('Lumerical_INTERCONNECT_library=Design kits/SiEPIC_AMF', (-39,-16), layer=998, texttype=0))

lib.write_gds('amf_GC_TE_1310_20d_Oxide.gds')
